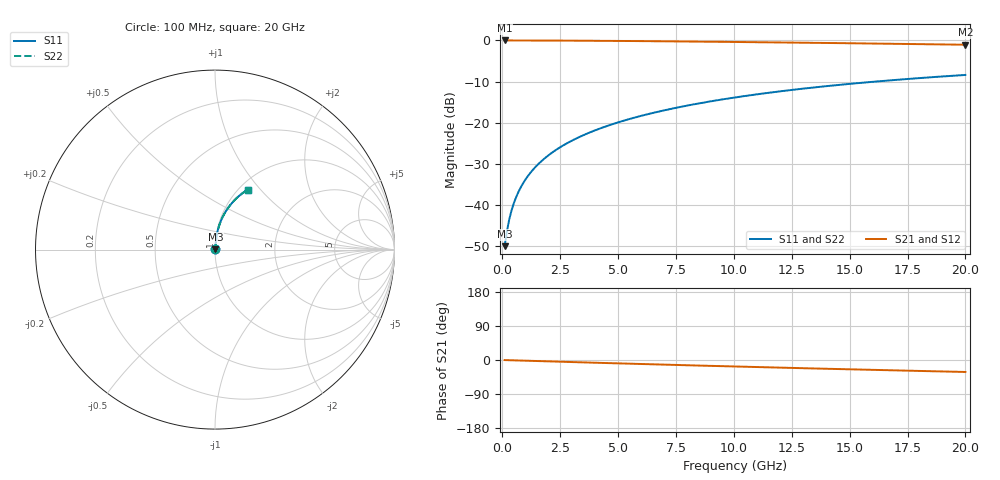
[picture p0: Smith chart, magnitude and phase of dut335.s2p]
! Touchstone file exported from HFSS 2024.1.0
!  File:  C:/UserFiles/LocalFiles/RDL_TSV_Batchsim/temp_RDL_top_335_1779607521.aedt
!  Generated:  03:27:53 PM May 24, 2026
!  Design:  RDL_top
!  Project:  temp_RDL_top_335_1779607521
!  Setup:  Setup1
!  Solution:  Sweep
! Variables:
!  dtsv = 10.80580581um
!  hbump = 3um
!  htsv = 64.08um
!  ldown = 100um
!  lrdl = 364.31um
!  p = 40
!  p1 = 58.78um
!  rhole = 1um
!  t = 450um
!  tdown = 3.915915916um
!  trdl = 3.85um
!  wdown = 15.38538539um
!  wrdl = 14.99um
# GHz S MA R 50.000000
! Terminal data exported
! Port[1] = Box2_T1
! Port[2] = Box2_T2
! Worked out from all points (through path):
!   200 points, 100 MHz to 20 GHz, reference 50 ohm
!   highest |S21| = -0.02 dB at 100 MHz (marker M1); lowest = -1.1 dB at 20 GHz (marker M2)
!   group delay of S21, straight-line fit = 4.37 ps
!   lowest |S11| = -50.0 dB at 100 MHz (marker M3), VSWR 1.01, Z = 50.2 + j0.209 ohm
!   |S11| at or under -10 dB: start of sweep to 16.15 GHz
!   |S22| runs from -50.0 to -8.4 dB; largest |S21 - S12| = 4.3e-15
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0.1  0.003152 41.3  0.9976 -0.2  0.9976 -0.2  0.003152 41.3
! Gamma 0 0 0 0
! Port Impedance 50 0 50 0
0.2  0.0048 59.6  0.9976 -0.4  0.9976 -0.4  0.0048 59.6
0.3  0.006663 67.9  0.9975 -0.6  0.9975 -0.6  0.006663 67.9
0.4  0.008584 72.4  0.9974 -0.7  0.9974 -0.7  0.008584 72.4
0.5  0.01052 75.3  0.9973 -0.9  0.9973 -0.9  0.01052 75.3
0.6  0.01248 77.2  0.9972 -1.1  0.9972 -1.1  0.01248 77.2
0.8  0.0164 79.7  0.997 -1.5  0.997 -1.5  0.0164 79.7
1.1  0.02232 81.8  0.9966 -2.0  0.9966 -2.0  0.02232 81.8
1.5  0.03026 83.1  0.996 -2.7  0.996 -2.7  0.03026 83.1
1.8  0.03624 83.5  0.9954 -3.3  0.9954 -3.3  0.03624 83.5
2.1  0.04224 83.8  0.9948 -3.8  0.9948 -3.8  0.04224 83.8
2.7  0.05427 83.9  0.9933 -4.9  0.9933 -4.9  0.05427 83.9
3.5  0.07038 83.5  0.9907 -6.3  0.9907 -6.3  0.07038 83.5
4.2  0.08452 83.0  0.9881 -7.5  0.9881 -7.5  0.08452 83.0
5  0.1007 82.2  0.9846 -8.9  0.9846 -8.9  0.1007 82.2
5.9  0.119 81.2  0.9803 -10.4  0.9803 -10.4  0.119 81.2
6.8  0.1372 80.1  0.9757 -11.9  0.9757 -11.9  0.1372 80.1
8.3  0.1675 78.1  0.9672 -14.4  0.9672 -14.4  0.1675 78.1
10.1  0.2034 75.6  0.9562 -17.2  0.9562 -17.2  0.2033 75.6
13.4  0.2667 70.8  0.9342 -22.3  0.9342 -22.3  0.2666 70.8
16.7  0.3258 66.0  0.9104 -27.0  0.9104 -27.0  0.3258 66.0
20  0.38 61.4  0.8854 -31.6  0.8854 -31.6  0.3799 61.4
